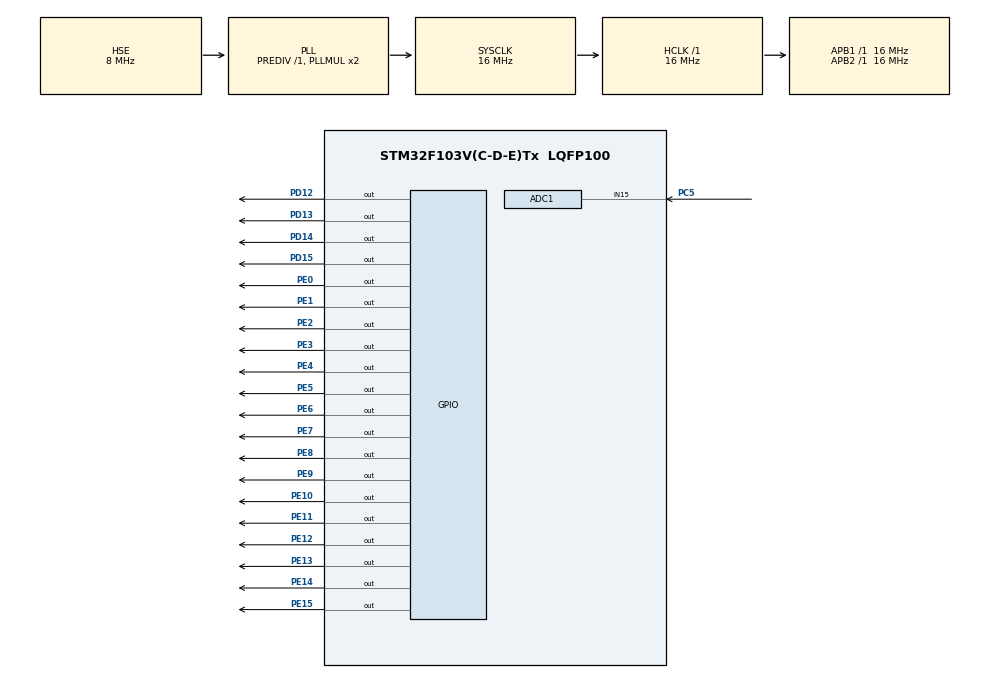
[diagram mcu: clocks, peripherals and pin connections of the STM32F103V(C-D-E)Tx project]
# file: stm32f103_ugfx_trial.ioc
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ADC1.Channel-4\#ChannelRegularConversion=ADC_CHANNEL_15
ADC1.Channel-7\#ChannelRegularConversion=ADC_CHANNEL_TEMPSENSOR
ADC1.Channel-8\#ChannelRegularConversion=ADC_CHANNEL_VREFINT
ADC1.ContinuousConvMode=ENABLE
ADC1.DataAlign=ADC_DATAALIGN_RIGHT
ADC1.DiscontinuousConvMode=DISABLE
ADC1.EnableAnalogWatchDog=false
ADC1.EnableRegularConversion=ENABLE
ADC1.ExternalTrigConv=ADC_SOFTWARE_START
ADC1.InjNumberOfConversion=0
ADC1.NbrOfConversion=3
ADC1.NbrOfConversionFlag=1
ADC1.Rank-4\#ChannelRegularConversion=1
ADC1.Rank-7\#ChannelRegularConversion=2
ADC1.Rank-8\#ChannelRegularConversion=3
ADC1.SamplingTime-4\#ChannelRegularConversion=ADC_SAMPLETIME_239CYCLES_5
ADC1.SamplingTime-7\#ChannelRegularConversion=ADC_SAMPLETIME_239CYCLES_5
ADC1.SamplingTime-8\#ChannelRegularConversion=ADC_SAMPLETIME_239CYCLES_5
ADC1.ScanConvMode=ADC_SCAN_ENABLE
ADC1.master=1
Dma.ADC1.0.Direction=DMA_PERIPH_TO_MEMORY
Dma.ADC1.0.Instance=DMA1_Channel1
Dma.ADC1.0.MemDataAlignment=DMA_MDATAALIGN_HALFWORD
Dma.ADC1.0.MemInc=DMA_MINC_ENABLE
Dma.ADC1.0.Mode=DMA_CIRCULAR
Dma.ADC1.0.PeriphDataAlignment=DMA_PDATAALIGN_HALFWORD
Dma.ADC1.0.PeriphInc=DMA_PINC_DISABLE
Dma.ADC1.0.Priority=DMA_PRIORITY_LOW
Dma.Request0=ADC1
Mcu.Family=STM32F1
Mcu.Name=STM32F103V(C-D-E)Tx
Mcu.Package=LQFP100
NVIC.ADC1_2_IRQn=true\:0\:0\:false\:false\:true\:true
NVIC.DMA1_Channel1_IRQn=true\:0\:0\:false\:false\:true\:false
NVIC.PriorityGroup=NVIC_PRIORITYGROUP_4
NVIC.RCC_IRQn=true\:0\:0\:false\:false\:true\:true
OSC_IN.Mode=HSE-External-Oscillator
OSC_IN.Signal=RCC_OSC_IN
OSC_OUT.Mode=HSE-External-Oscillator
OSC_OUT.Signal=RCC_OSC_OUT
PA13.Mode=Serial_Wire
PA13.Signal=SYS_JTMS-SWDIO
PA14.Mode=Serial_Wire
PA14.Signal=SYS_JTCK-SWCLK
PC5.Signal=ADCx_IN15
PD12.GPIO_ModeDefaultOutputPP=GPIO_MODE_OUTPUT_PP
PD12.GPIO_Speed=GPIO_SPEED_FREQ_HIGH
PD12.PinState=GPIO_PIN_SET
PD12.Signal=GPIO_Output
PD13.GPIO_ModeDefaultOutputPP=GPIO_MODE_OUTPUT_PP
PD13.GPIO_Speed=GPIO_SPEED_FREQ_HIGH
PD13.PinState=GPIO_PIN_SET
PD13.Signal=GPIO_Output
PD14.GPIO_ModeDefaultOutputPP=GPIO_MODE_OUTPUT_PP
PD14.GPIO_Speed=GPIO_SPEED_FREQ_HIGH
PD14.PinState=GPIO_PIN_SET
PD14.Signal=GPIO_Output
PD15.GPIO_ModeDefaultOutputPP=GPIO_MODE_OUTPUT_PP
PD15.GPIO_Speed=GPIO_SPEED_FREQ_HIGH
PD15.PinState=GPIO_PIN_SET
PD15.Signal=GPIO_Output
PE0.GPIO_ModeDefaultOutputPP=GPIO_MODE_OUTPUT_PP
PE0.GPIO_Speed=GPIO_SPEED_FREQ_HIGH
PE0.PinState=GPIO_PIN_SET
PE0.Signal=GPIO_Output
PE1.GPIO_ModeDefaultOutputPP=GPIO_MODE_OUTPUT_PP
PE1.GPIO_Speed=GPIO_SPEED_FREQ_HIGH
PE1.PinState=GPIO_PIN_SET
PE1.Signal=GPIO_Output
PE10.GPIO_ModeDefaultOutputPP=GPIO_MODE_OUTPUT_PP
PE10.GPIO_Speed=GPIO_SPEED_FREQ_HIGH
PE10.PinState=GPIO_PIN_SET
PE10.Signal=GPIO_Output
PE11.GPIO_ModeDefaultOutputPP=GPIO_MODE_OUTPUT_PP
PE11.GPIO_Speed=GPIO_SPEED_FREQ_HIGH
PE11.PinState=GPIO_PIN_SET
PE11.Signal=GPIO_Output
PE12.GPIO_ModeDefaultOutputPP=GPIO_MODE_OUTPUT_PP
PE12.GPIO_Speed=GPIO_SPEED_FREQ_HIGH
PE12.PinState=GPIO_PIN_SET
PE12.Signal=GPIO_Output
PE13.GPIO_ModeDefaultOutputPP=GPIO_MODE_OUTPUT_PP
PE13.GPIO_Speed=GPIO_SPEED_FREQ_HIGH
PE13.PinState=GPIO_PIN_SET
PE13.Signal=GPIO_Output
PE14.GPIO_ModeDefaultOutputPP=GPIO_MODE_OUTPUT_PP
PE14.GPIO_Speed=GPIO_SPEED_FREQ_HIGH
PE14.PinState=GPIO_PIN_SET
PE14.Signal=GPIO_Output
PE15.GPIO_ModeDefaultOutputPP=GPIO_MODE_OUTPUT_PP
PE15.GPIO_Speed=GPIO_SPEED_FREQ_HIGH
PE15.PinState=GPIO_PIN_SET
PE15.Signal=GPIO_Output
PE2.GPIO_ModeDefaultOutputPP=GPIO_MODE_OUTPUT_PP
PE2.GPIO_Speed=GPIO_SPEED_FREQ_HIGH
PE2.PinState=GPIO_PIN_SET
PE2.Signal=GPIO_Output
PE3.GPIO_ModeDefaultOutputPP=GPIO_MODE_OUTPUT_PP
PE3.GPIO_Speed=GPIO_SPEED_FREQ_HIGH
PE3.PinState=GPIO_PIN_SET
PE3.Signal=GPIO_Output
PE4.GPIO_ModeDefaultOutputPP=GPIO_MODE_OUTPUT_PP
PE4.GPIO_Speed=GPIO_SPEED_FREQ_HIGH
PE4.PinState=GPIO_PIN_SET
PE4.Signal=GPIO_Output
PE5.GPIO_ModeDefaultOutputPP=GPIO_MODE_OUTPUT_PP
PE5.GPIO_Speed=GPIO_SPEED_FREQ_HIGH
PE5.PinState=GPIO_PIN_SET
PE5.Signal=GPIO_Output
PE6.GPIO_ModeDefaultOutputPP=GPIO_MODE_OUTPUT_PP
PE6.GPIO_Speed=GPIO_SPEED_FREQ_HIGH
PE6.PinState=GPIO_PIN_SET
PE6.Signal=GPIO_Output
PE7.GPIO_ModeDefaultOutputPP=GPIO_MODE_OUTPUT_PP
PE7.GPIO_Speed=GPIO_SPEED_FREQ_HIGH
PE7.PinState=GPIO_PIN_SET
PE7.Signal=GPIO_Output
PE8.GPIO_ModeDefaultOutputPP=GPIO_MODE_OUTPUT_PP
PE8.GPIO_Speed=GPIO_SPEED_FREQ_HIGH
PE8.PinState=GPIO_PIN_SET
PE8.Signal=GPIO_Output
PE9.GPIO_ModeDefaultOutputPP=GPIO_MODE_OUTPUT_PP
PE9.GPIO_Speed=GPIO_SPEED_FREQ_HIGH
PE9.PinState=GPIO_PIN_SET
PE9.Signal=GPIO_Output
ProjectManager.HeapSize=0x200
ProjectManager.StackSize=0x400
ProjectManager.TargetToolchain=MDK-ARM V5
RCC.AHBFreq_Value=16000000
RCC.APB1Freq_Value=16000000
RCC.APB1TimFreq_Value=16000000
RCC.APB2Freq_Value=16000000
RCC.APB2TimFreq_Value=16000000
RCC.HCLKFreq_Value=16000000
RCC.PLLSourceVirtual=RCC_PLLSOURCE_HSE
RCC.SYSCLKFreq_VALUE=16000000
RCC.SYSCLKSource=RCC_SYSCLKSOURCE_PLLCLK
RCC.USBFreq_Value=16000000
SH.ADCx_IN15.0=ADC1_IN15,IN15
VP_ADC1_TempSens_Input.Mode=IN-TempSens
VP_ADC1_Vref_Input.Mode=IN-Vrefint
board=stm32f103_ugfx_trial

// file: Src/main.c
/**
  ******************************************************************************
  * File Name          : main.c
  * Description        : Main program body
  ******************************************************************************
  ** This notice applies to any and all portions of this file
  * that are not between comment pairs USER CODE BEGIN and
  * USER CODE END. Other portions of this file, whether
  * inserted by the user or by software development tools
  * are owned by their respective copyright owners.
  *
  * COPYRIGHT(c) 2017 STMicroelectronics
  *
  * Redistribution and use in source and binary forms, with or without modification,
  * are permitted provided that the following conditions are met:
  *   1. Redistributions of source code must retain the above copyright notice,
  *      this list of conditions and the following disclaimer.
  *   2. Redistributions in binary form must reproduce the above copyright notice,
  *      this list of conditions and the following disclaimer in the documentation
  *      and/or other materials provided with the distribution.
  *   3. Neither the name of STMicroelectronics nor the names of its contributors
  *      may be used to endorse or promote products derived from this software
  *      without specific prior written permission.
  *
  * THIS SOFTWARE IS PROVIDED BY THE COPYRIGHT HOLDERS AND CONTRIBUTORS "AS IS"
  * AND ANY EXPRESS OR IMPLIED WARRANTIES, INCLUDING, BUT NOT LIMITED TO, THE
  * IMPLIED WARRANTIES OF MERCHANTABILITY AND FITNESS FOR A PARTICULAR PURPOSE ARE
  * DISCLAIMED. IN NO EVENT SHALL THE COPYRIGHT HOLDER OR CONTRIBUTORS BE LIABLE
  * FOR ANY DIRECT, INDIRECT, INCIDENTAL, SPECIAL, EXEMPLARY, OR CONSEQUENTIAL
  * DAMAGES (INCLUDING, BUT NOT LIMITED TO, PROCUREMENT OF SUBSTITUTE GOODS OR
  * SERVICES; LOSS OF USE, DATA, OR PROFITS; OR BUSINESS INTERRUPTION) HOWEVER
  * CAUSED AND ON ANY THEORY OF LIABILITY, WHETHER IN CONTRACT, STRICT LIABILITY,
  * OR TORT (INCLUDING NEGLIGENCE OR OTHERWISE) ARISING IN ANY WAY OUT OF THE USE
  * OF THIS SOFTWARE, EVEN IF ADVISED OF THE POSSIBILITY OF SUCH DAMAGE.
  *
  ******************************************************************************
  */

#include "main.h"
#include "stm32f1xx_hal.h"

/* USER CODE BEGIN Includes */
#include "gfx.h"
#include <string.h>
/* USER CODE END Includes */

ADC_HandleTypeDef hadc1;
DMA_HandleTypeDef hdma_adc1;

/* USER CODE BEGIN PV */
/* Private variables ---------------------------------------------------------*/
uint8_t index = 0;
uint16_t adc_raw[3];
/* USER CODE END PV */

void SystemClock_Config(void);
static void MX_GPIO_Init(void);
static void MX_DMA_Init(void);
static void MX_ADC1_Init(void);

/* USER CODE BEGIN PFP */
/* Private function prototypes -----------------------------------------------*/
systemticks_t gfxSystemTicks(void);
systemticks_t gfxMillisecondsToTicks(delaytime_t ms);
void GPIOE_Write(void);
void GPIOE_Read(void);
/* USER CODE END PFP */

int main(void)
{

  /* MCU Configuration----------------------------------------------------------*/

  /* Reset of all peripherals, Initializes the Flash interface and the Systick. */
  HAL_Init();

  /* Configure the system clock */
  SystemClock_Config();

  /* Initialize all configured peripherals */
  MX_GPIO_Init();
  MX_DMA_Init();
  MX_ADC1_Init();

  /* USER CODE BEGIN 2 */
	gfxInit();
	font_t font = gdispOpenFont("U12");
	gdispDrawString(0, 50, "Hello Rafiq", font, Cyan);
	HAL_ADC_Start_DMA(&hadc1, (uint32_t*)adc_raw, 3);
	HAL_Delay(500);
	gdispClear(Black);

	char old_string[16];
  /* USER CODE END 2 */

  /* Infinite loop */
  while (1)
  {

  /* USER CODE BEGIN 3 */

		char string_display[16];

		snprintf(string_display, 16,"ADC1_15 = %d", adc_raw[0]);
		gdispDrawString(30, 30, old_string, font, Black);
		gdispDrawString(30, 30, string_display, font, Red);
		strncpy(old_string, string_display, 16);
		HAL_Delay(500);

  }
  /* USER CODE END 3 */

}

/** System Clock Configuration
*/
void SystemClock_Config(void)
{

  RCC_OscInitTypeDef RCC_OscInitStruct;
  RCC_ClkInitTypeDef RCC_ClkInitStruct;
  RCC_PeriphCLKInitTypeDef PeriphClkInit;

    /**Initializes the CPU, AHB and APB busses clocks
    */
  RCC_OscInitStruct.OscillatorType = RCC_OSCILLATORTYPE_HSE;
  RCC_OscInitStruct.HSEState = RCC_HSE_ON;
  RCC_OscInitStruct.HSEPredivValue = RCC_HSE_PREDIV_DIV1;
  RCC_OscInitStruct.HSIState = RCC_HSI_ON;
  RCC_OscInitStruct.PLL.PLLState = RCC_PLL_ON;
  RCC_OscInitStruct.PLL.PLLSource = RCC_PLLSOURCE_HSE;
  RCC_OscInitStruct.PLL.PLLMUL = RCC_PLL_MUL2;
  if (HAL_RCC_OscConfig(&RCC_OscInitStruct) != HAL_OK)
  {
    _Error_Handler(__FILE__, __LINE__);
  }

    /**Initializes the CPU, AHB and APB busses clocks
    */
  RCC_ClkInitStruct.ClockType = RCC_CLOCKTYPE_HCLK|RCC_CLOCKTYPE_SYSCLK
                              |RCC_CLOCKTYPE_PCLK1|RCC_CLOCKTYPE_PCLK2;
  RCC_ClkInitStruct.SYSCLKSource = RCC_SYSCLKSOURCE_PLLCLK;
  RCC_ClkInitStruct.AHBCLKDivider = RCC_SYSCLK_DIV1;
  RCC_ClkInitStruct.APB1CLKDivider = RCC_HCLK_DIV1;
  RCC_ClkInitStruct.APB2CLKDivider = RCC_HCLK_DIV1;

  if (HAL_RCC_ClockConfig(&RCC_ClkInitStruct, FLASH_LATENCY_0) != HAL_OK)
  {
    _Error_Handler(__FILE__, __LINE__);
  }

  PeriphClkInit.PeriphClockSelection = RCC_PERIPHCLK_ADC;
  PeriphClkInit.AdcClockSelection = RCC_ADCPCLK2_DIV2;
  if (HAL_RCCEx_PeriphCLKConfig(&PeriphClkInit) != HAL_OK)
  {
    _Error_Handler(__FILE__, __LINE__);
  }

    /**Configure the Systick interrupt time
    */
  HAL_SYSTICK_Config(HAL_RCC_GetHCLKFreq()/1000);

    /**Configure the Systick
    */
  HAL_SYSTICK_CLKSourceConfig(SYSTICK_CLKSOURCE_HCLK);

  /* SysTick_IRQn interrupt configuration */
  HAL_NVIC_SetPriority(SysTick_IRQn, 0, 0);
}

/* ADC1 init function */
static void MX_ADC1_Init(void)
{

  ADC_ChannelConfTypeDef sConfig;

    /**Common config
    */
  hadc1.Instance = ADC1;
  hadc1.Init.ScanConvMode = ADC_SCAN_ENABLE;
  hadc1.Init.ContinuousConvMode = ENABLE;
  hadc1.Init.DiscontinuousConvMode = DISABLE;
  hadc1.Init.ExternalTrigConv = ADC_SOFTWARE_START;
  hadc1.Init.DataAlign = ADC_DATAALIGN_RIGHT;
  hadc1.Init.NbrOfConversion = 3;
  if (HAL_ADC_Init(&hadc1) != HAL_OK)
  {
    _Error_Handler(__FILE__, __LINE__);
  }

    /**Configure Regular Channel
    */
  sConfig.Channel = ADC_CHANNEL_15;
  sConfig.Rank = 1;
  sConfig.SamplingTime = ADC_SAMPLETIME_239CYCLES_5;
  if (HAL_ADC_ConfigChannel(&hadc1, &sConfig) != HAL_OK)
  {
    _Error_Handler(__FILE__, __LINE__);
  }

    /**Configure Regular Channel
    */
  sConfig.Channel = ADC_CHANNEL_TEMPSENSOR;
  sConfig.Rank = 2;
  if (HAL_ADC_ConfigChannel(&hadc1, &sConfig) != HAL_OK)
  {
    _Error_Handler(__FILE__, __LINE__);
  }

    /**Configure Regular Channel
    */
  sConfig.Channel = ADC_CHANNEL_VREFINT;
  sConfig.Rank = 3;
  if (HAL_ADC_ConfigChannel(&hadc1, &sConfig) != HAL_OK)
  {
    _Error_Handler(__FILE__, __LINE__);
  }

}

static void MX_DMA_Init(void)
{
  /* DMA controller clock enable */
  __HAL_RCC_DMA1_CLK_ENABLE();

  /* DMA interrupt init */
  /* DMA1_Channel1_IRQn interrupt configuration */
  HAL_NVIC_SetPriority(DMA1_Channel1_IRQn, 0, 0);
  HAL_NVIC_EnableIRQ(DMA1_Channel1_IRQn);

}

/** Configure pins as
        * Analog
        * Input
        * Output
        * EVENT_OUT
        * EXTI
*/
static void MX_GPIO_Init(void)
{

  GPIO_InitTypeDef GPIO_InitStruct;

  /* GPIO Ports Clock Enable */
  __HAL_RCC_GPIOE_CLK_ENABLE();
  __HAL_RCC_GPIOC_CLK_ENABLE();
  __HAL_RCC_GPIOD_CLK_ENABLE();
  __HAL_RCC_GPIOA_CLK_ENABLE();

  /*Configure GPIO pin Output Level */
  HAL_GPIO_WritePin(GPIOE, GPIO_PIN_2|GPIO_PIN_3|GPIO_PIN_4|GPIO_PIN_5
                          |GPIO_PIN_6|GPIO_PIN_7|GPIO_PIN_8|GPIO_PIN_9
                          |GPIO_PIN_10|GPIO_PIN_11|GPIO_PIN_12|GPIO_PIN_13
                          |GPIO_PIN_14|GPIO_PIN_15|GPIO_PIN_0|GPIO_PIN_1, GPIO_PIN_SET);

  /*Configure GPIO pin Output Level */
  HAL_GPIO_WritePin(GPIOD, GPIO_PIN_12|GPIO_PIN_13|GPIO_PIN_14|GPIO_PIN_15, GPIO_PIN_SET);

  /*Configure GPIO pins : PE2 PE3 PE4 PE5
                           PE6 PE7 PE8 PE9
                           PE10 PE11 PE12 PE13
                           PE14 PE15 PE0 PE1 */
  GPIO_InitStruct.Pin = GPIO_PIN_2|GPIO_PIN_3|GPIO_PIN_4|GPIO_PIN_5
                          |GPIO_PIN_6|GPIO_PIN_7|GPIO_PIN_8|GPIO_PIN_9
                          |GPIO_PIN_10|GPIO_PIN_11|GPIO_PIN_12|GPIO_PIN_13
                          |GPIO_PIN_14|GPIO_PIN_15|GPIO_PIN_0|GPIO_PIN_1;
  GPIO_InitStruct.Mode = GPIO_MODE_OUTPUT_PP;
  GPIO_InitStruct.Speed = GPIO_SPEED_FREQ_HIGH;
  HAL_GPIO_Init(GPIOE, &GPIO_InitStruct);

  /*Configure GPIO pins : PD12 PD13 PD14 PD15 */
  GPIO_InitStruct.Pin = GPIO_PIN_12|GPIO_PIN_13|GPIO_PIN_14|GPIO_PIN_15;
  GPIO_InitStruct.Mode = GPIO_MODE_OUTPUT_PP;
  GPIO_InitStruct.Speed = GPIO_SPEED_FREQ_HIGH;
  HAL_GPIO_Init(GPIOD, &GPIO_InitStruct);

}

/* USER CODE BEGIN 4 */
void GPIOE_Write()
{
	GPIO_InitTypeDef GPIO_InitStruct;

	GPIO_InitStruct.Pin = GPIO_PIN_2|GPIO_PIN_3|GPIO_PIN_4|GPIO_PIN_5
                          |GPIO_PIN_6|GPIO_PIN_7|GPIO_PIN_8|GPIO_PIN_9
                          |GPIO_PIN_10|GPIO_PIN_11|GPIO_PIN_12|GPIO_PIN_13
                          |GPIO_PIN_14|GPIO_PIN_15|GPIO_PIN_0|GPIO_PIN_1;
  GPIO_InitStruct.Mode = GPIO_MODE_OUTPUT_PP;
  GPIO_InitStruct.Speed = GPIO_SPEED_FREQ_HIGH;
  HAL_GPIO_Init(GPIOE, &GPIO_InitStruct);
}

void GPIOE_Read()
{
	GPIO_InitTypeDef GPIO_InitStruct;

	GPIO_InitStruct.Pin = GPIO_PIN_2|GPIO_PIN_3|GPIO_PIN_4|GPIO_PIN_5
                          |GPIO_PIN_6|GPIO_PIN_7|GPIO_PIN_8|GPIO_PIN_9
                          |GPIO_PIN_10|GPIO_PIN_11|GPIO_PIN_12|GPIO_PIN_13
                          |GPIO_PIN_14|GPIO_PIN_15|GPIO_PIN_0|GPIO_PIN_1;
  GPIO_InitStruct.Mode = GPIO_MODE_INPUT;
	GPIO_InitStruct.Pull = GPIO_PULLUP;
  GPIO_InitStruct.Speed = GPIO_SPEED_FREQ_HIGH;
  HAL_GPIO_Init(GPIOE, &GPIO_InitStruct);
}

systemticks_t gfxSystemTicks(void)
{
	return HAL_GetTick();
}

systemticks_t gfxMillisecondsToTicks(delaytime_t ms)
{
	return ms;
}

/* USER CODE END 4 */

void _Error_Handler(char * file, int line)
{
  while(1)
  {
  }
}

/************************ (C) COPYRIGHT STMicroelectronics *****END OF FILE****/
